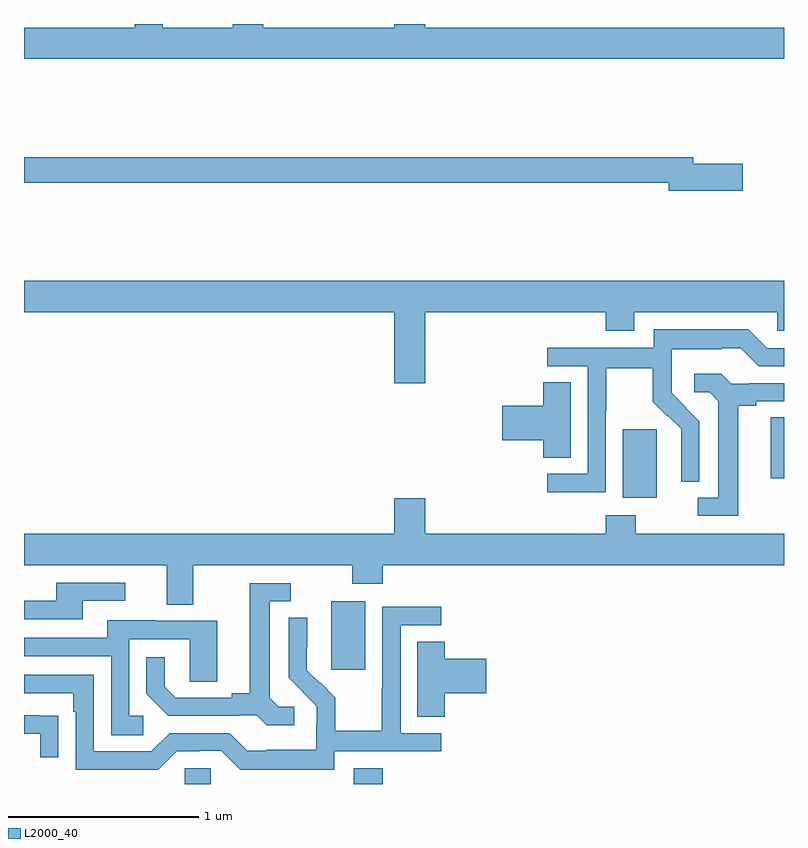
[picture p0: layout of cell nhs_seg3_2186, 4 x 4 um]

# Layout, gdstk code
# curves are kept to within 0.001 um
import gdstk
lib = gdstk.Library(unit=1e-6, precision=1e-09)
def R(c, l, rs):  # rectangles x0, y0, x1, y1
    for r in rs: c.add(gdstk.rectangle(r[:2], r[2:], *l))
def P(c, l, *ps):  # polygons
    for p in ps: c.add(gdstk.Polygon(p, *l))
L2000_40 = (2000, 40)

nhs_seg3_2186 = lib.new_cell('nhs_seg3_2186')
R(nhs_seg3_2186, L2000_40, [(223.845,730.4,223.983,730.482), (224.735,730.4,224.888,730.483), (224.618,731.001,224.797,731.362), (226.151,731.906,226.33,732.267), (226.931,732.009,227,732.329)])
P(nhs_seg3_2186, L2000_40, [(227,734.38),(225.112,734.38),(225.112,734.4),(224.948,734.4),(224.948,734.38),(224.258,734.38),(224.258,734.4),(224.098,734.4),(224.098,734.38),(223.731,734.38),(223.731,734.4),(223.584,734.4),(223.584,734.38),(223,734.38),(223,734.216),(227,734.216)],
  [(226.783,733.664),(226.522,733.664),(226.522,733.7),(223,733.7),(223,733.564),(226.394,733.564),(226.394,733.522),(226.783,733.522)],
  [(225.112,732.884),(226.061,732.884),(226.061,732.785),(226.213,732.785),(226.213,732.884),(226.965,732.884),(226.965,732.786),(227,732.786),(227,733.048),(223,733.048),(223,732.884),(224.948,732.884),(224.948,732.51),(225.112,732.51)],
  [(226.062,732.364),(226.065,732.364),(226.065,732.588),(226.309,732.588),(226.309,732.413),(226.386,732.336),(226.389,732.339),(226.46,732.269),(226.46,732.146),(226.458,732.146),(226.458,731.992),(226.554,731.992),(226.554,732.31),(226.408,732.458),(226.408,732.555),(226.41,732.555),(226.41,732.689),(226.673,732.689),(226.673,732.693),(226.773,732.693),(226.866,732.6),(227,732.6),(227,732.693),(226.911,732.693),(226.811,732.793),(226.314,732.793),(226.314,732.696),(225.753,732.696),(225.753,732.6),(225.966,732.6),(225.966,732.033),(225.753,732.033),(225.753,731.935),(226.062,731.935)],
  [(226.759,732.392),(226.855,732.392),(226.855,732.414),(227,732.414),(227,732.51),(226.816,732.51),(226.816,732.507),(226.722,732.507),(226.67,732.559),(226.527,732.559),(226.527,732.462),(226.608,732.462),(226.655,732.415),(226.655,731.907),(226.545,731.907),(226.545,731.811),(226.759,731.811)],
  [(225.877,732.515),(225.734,732.515),(225.734,732.392),(225.516,732.392),(225.516,732.209),(225.734,732.209),(225.734,732.118),(225.877,732.118)],
  [(223.891,731.552),(224.728,731.552),(224.728,731.453),(224.888,731.453),(224.888,731.552),(227,731.552),(227,731.716),(226.221,731.716),(226.221,731.815),(226.061,731.815),(226.061,731.716),(225.112,731.716),(225.112,731.905),(224.948,731.905),(224.948,731.716),(223,731.716),(223,731.552),(223.751,731.552),(223.751,731.344),(223.891,731.344)],
  [(223.309,731.364),(223.534,731.364),(223.534,731.46),(223.169,731.46),(223.169,731.364),(223,731.364),(223,731.268),(223.309,731.268)],
  [(224.422,730.806),(224.34,730.806),(224.293,730.853),(224.293,731.361),(224.404,731.361),(224.404,731.457),(224.189,731.457),(224.189,730.877),(224.093,730.877),(224.093,730.854),(223.798,730.854),(223.741,730.911),(223.741,731.068),(223.644,731.068),(223.644,730.874),(223.76,730.758),(224.132,730.758),(224.132,730.761),(224.226,730.761),(224.278,730.709),(224.422,730.709)],
  [(224.634,730.572),(225.196,730.572),(225.196,730.668),(224.982,730.668),(224.982,731.235),(225.196,731.235),(225.196,731.334),(224.886,731.334),(224.886,730.904),(224.884,730.904),(224.884,730.681),(224.639,730.681),(224.639,730.855),(224.562,730.932),(224.559,730.929),(224.489,731),(224.49,731.276),(224.394,731.276),(224.394,730.958),(224.54,730.81),(224.54,730.713),(224.538,730.713),(224.538,730.579),(224.275,730.579),(224.275,730.575),(224.175,730.575),(224.082,730.668),(223.767,730.668),(223.671,730.572),(223.368,730.572),(223.368,730.974),(223,730.974),(223,730.878),(223.259,730.878),(223.259,730.781),(223.272,730.781),(223.272,730.476),(223.707,730.476),(223.803,730.572),(223.922,730.572),(223.922,730.575),(224.037,730.575),(224.137,730.475),(224.634,730.475)],
  [(223.627,730.758),(223.554,730.758),(223.554,731.163),(223.872,731.163),(223.872,730.939),(224.017,730.939),(224.017,731.259),(223.693,731.259),(223.693,731.263),(223.439,731.263),(223.439,731.169),(223,731.169),(223,731.073),(223.458,731.073),(223.458,730.657),(223.627,730.657)],
  [(225.215,730.877),(225.433,730.877),(225.433,731.06),(225.215,731.06),(225.215,731.15),(225.071,731.15),(225.071,730.753),(225.215,730.753)],
  [(223.181,730.76),(223.079,730.76),(223.079,730.761),(223,730.761),(223,730.665),(223.085,730.665),(223.085,730.542),(223.181,730.542)])

lib.write_gds('nhs_seg3_2186.gds')
